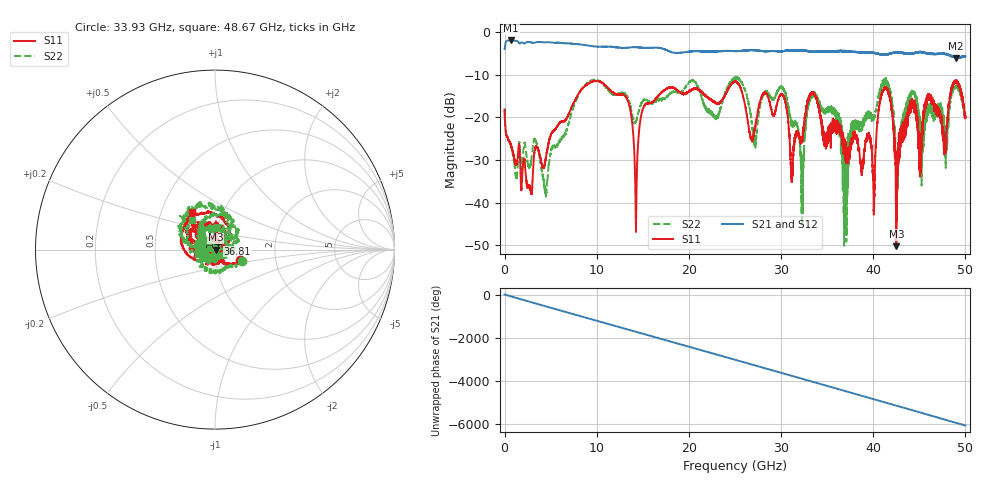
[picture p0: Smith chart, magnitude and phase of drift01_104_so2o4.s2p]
!Created with skrf (http://scikit-rf.org).
# Hz S RI R 50.0
!freq ReS11 ImS11 ReS21 ImS21 ReS12 ImS12 ReS22 ImS22
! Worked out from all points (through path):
!   10001 points, 300 kHz to 50 GHz, reference 50 ohm
!   highest |S21| = -2.00 dB at 710.3 MHz (marker M1); lowest = -6.1 dB at 48.98 GHz (marker M2)
!   group delay of S21, straight-line fit = 336 ps
!   lowest |S11| = -50.2 dB at 42.51 GHz (marker M3), VSWR 1.01, Z = 50.3 - j0.105 ohm
!   |S11| at or under -10 dB: start of sweep to end of sweep
!   |S22| runs from -50.1 to -10.5 dB; largest |S21 - S12| = 0.024
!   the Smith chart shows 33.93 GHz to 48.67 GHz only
!   S11 on the Smith chart (normalised r, x): 33.93 GHz: 1.31, -0.16; 36.81 GHz: 1.03, +0.07; 48.67 GHz: 0.71, +0.31
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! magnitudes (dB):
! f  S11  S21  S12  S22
! 300 kHz  -18.2  -4.0  -4.0  -18.0
! 710.3 MHz  -26.7  -2.0  -2.0  -26.7
! 4.445 GHz  -29.9  -2.4  -2.4  -37.7
! 8.335 GHz  -13.5  -2.9  -3.0  -13.5
! 13.17 GHz  -15.2  -3.7  -3.7  -14.7
! 14.26 GHz  -46.8  -3.6  -3.6  -21.1
! 16.67 GHz  -14.9  -3.7  -3.7  -15.8
! 25 GHz  -11.6  -4.5  -4.5  -10.9
! 27.15 GHz  -22.5  -4.3  -4.3  -26.0
! 30.22 GHz  -14.9  -4.5  -4.5  -13.5
! 31.15 GHz  -33.9  -4.3  -4.3  -21.3
! 32.27 GHz  -25.3  -4.4  -4.2  -35.7
! 33.34 GHz  -14.2  -4.6  -4.6  -14.4
! 33.93 GHz  -16.6  -4.6  -4.6  -15.7
! 36.81 GHz  -28.5  -4.6  -4.4  -29.2
! 40.06 GHz  -41.9  -4.9  -4.9  -20.2
! 41.67 GHz  -14.2  -5.1  -5.1  -12.9
! 42.51 GHz  -50.2  -4.9  -4.9  -28.2
! 47.76 GHz  -26.9  -5.2  -5.1  -24.1
! 48.67 GHz  -12.2  -5.8  -5.9  -13.5
! 48.98 GHz  -11.3  -6.1  -6.0  -12.7
! 50 GHz  -19.9  -5.7  -5.8  -19.8
